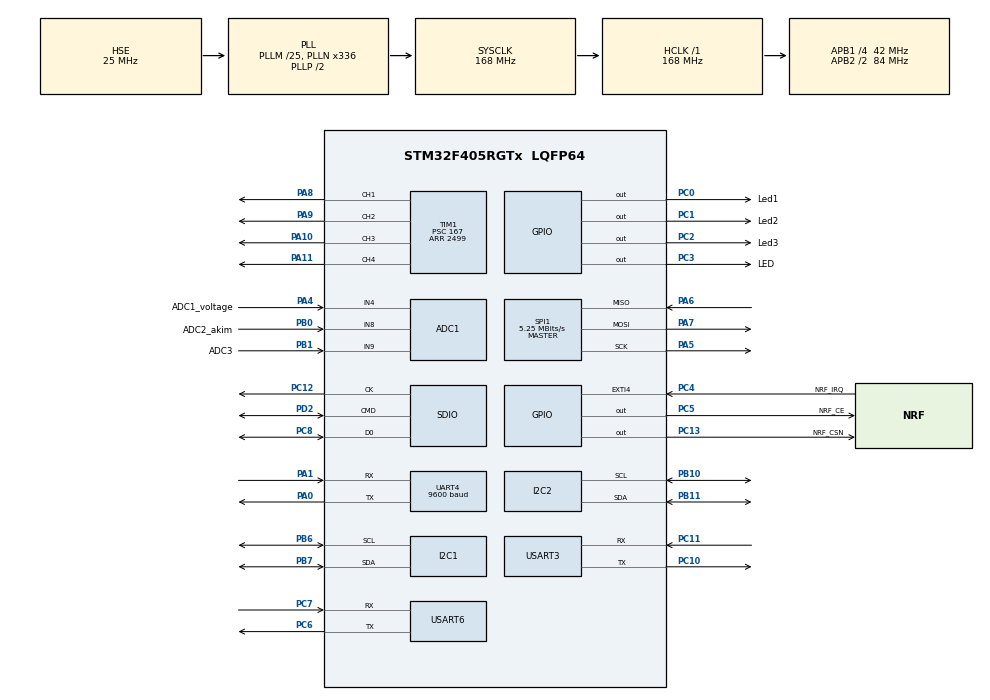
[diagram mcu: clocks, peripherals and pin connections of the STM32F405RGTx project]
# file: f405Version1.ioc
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ADC1.Channel-0\#ChannelRegularConversion=ADC_CHANNEL_4
ADC1.Channel-1\#ChannelRegularConversion=ADC_CHANNEL_8
ADC1.Channel-2\#ChannelRegularConversion=ADC_CHANNEL_9
ADC1.ContinuousConvMode=ENABLE
ADC1.DMAContinuousRequests=ENABLE
ADC1.DiscontinuousConvMode=DISABLE
ADC1.EOCSelection=ADC_EOC_SEQ_CONV
ADC1.NbrOfConversion=3
ADC1.NbrOfConversionFlag=1
ADC1.Rank-0\#ChannelRegularConversion=1
ADC1.Rank-1\#ChannelRegularConversion=2
ADC1.Rank-2\#ChannelRegularConversion=3
ADC1.SamplingTime-0\#ChannelRegularConversion=ADC_SAMPLETIME_112CYCLES
ADC1.SamplingTime-1\#ChannelRegularConversion=ADC_SAMPLETIME_112CYCLES
ADC1.SamplingTime-2\#ChannelRegularConversion=ADC_SAMPLETIME_112CYCLES
ADC1.master=1
Dma.ADC1.4.Direction=DMA_PERIPH_TO_MEMORY
Dma.ADC1.4.FIFOMode=DMA_FIFOMODE_DISABLE
Dma.ADC1.4.Instance=DMA2_Stream0
Dma.ADC1.4.MemDataAlignment=DMA_MDATAALIGN_HALFWORD
Dma.ADC1.4.MemInc=DMA_MINC_ENABLE
Dma.ADC1.4.Mode=DMA_CIRCULAR
Dma.ADC1.4.PeriphDataAlignment=DMA_PDATAALIGN_HALFWORD
Dma.ADC1.4.PeriphInc=DMA_PINC_DISABLE
Dma.ADC1.4.Priority=DMA_PRIORITY_MEDIUM
Dma.Request0=UART4_RX
Dma.Request1=UART4_TX
Dma.Request2=USART6_RX
Dma.Request3=USART6_TX
Dma.Request4=ADC1
Dma.UART4_RX.0.Direction=DMA_PERIPH_TO_MEMORY
Dma.UART4_RX.0.FIFOMode=DMA_FIFOMODE_DISABLE
Dma.UART4_RX.0.Instance=DMA1_Stream2
Dma.UART4_RX.0.MemDataAlignment=DMA_MDATAALIGN_BYTE
Dma.UART4_RX.0.MemInc=DMA_MINC_ENABLE
Dma.UART4_RX.0.Mode=DMA_CIRCULAR
Dma.UART4_RX.0.PeriphDataAlignment=DMA_PDATAALIGN_BYTE
Dma.UART4_RX.0.PeriphInc=DMA_PINC_DISABLE
Dma.UART4_RX.0.Priority=DMA_PRIORITY_LOW
Dma.UART4_TX.1.Direction=DMA_MEMORY_TO_PERIPH
Dma.UART4_TX.1.FIFOMode=DMA_FIFOMODE_DISABLE
Dma.UART4_TX.1.Instance=DMA1_Stream4
Dma.UART4_TX.1.MemDataAlignment=DMA_MDATAALIGN_BYTE
Dma.UART4_TX.1.MemInc=DMA_MINC_ENABLE
Dma.UART4_TX.1.Mode=DMA_CIRCULAR
Dma.UART4_TX.1.PeriphDataAlignment=DMA_PDATAALIGN_BYTE
Dma.UART4_TX.1.PeriphInc=DMA_PINC_DISABLE
Dma.UART4_TX.1.Priority=DMA_PRIORITY_LOW
Dma.USART6_RX.2.Direction=DMA_PERIPH_TO_MEMORY
Dma.USART6_RX.2.FIFOMode=DMA_FIFOMODE_DISABLE
Dma.USART6_RX.2.Instance=DMA2_Stream1
Dma.USART6_RX.2.MemDataAlignment=DMA_MDATAALIGN_BYTE
Dma.USART6_RX.2.MemInc=DMA_MINC_ENABLE
Dma.USART6_RX.2.Mode=DMA_CIRCULAR
Dma.USART6_RX.2.PeriphDataAlignment=DMA_PDATAALIGN_BYTE
Dma.USART6_RX.2.PeriphInc=DMA_PINC_DISABLE
Dma.USART6_RX.2.Priority=DMA_PRIORITY_LOW
Dma.USART6_TX.3.Direction=DMA_MEMORY_TO_PERIPH
Dma.USART6_TX.3.FIFOMode=DMA_FIFOMODE_DISABLE
Dma.USART6_TX.3.Instance=DMA2_Stream7
Dma.USART6_TX.3.MemDataAlignment=DMA_MDATAALIGN_BYTE
Dma.USART6_TX.3.MemInc=DMA_MINC_ENABLE
Dma.USART6_TX.3.Mode=DMA_CIRCULAR
Dma.USART6_TX.3.PeriphDataAlignment=DMA_PDATAALIGN_BYTE
Dma.USART6_TX.3.PeriphInc=DMA_PINC_DISABLE
Dma.USART6_TX.3.Priority=DMA_PRIORITY_LOW
I2C1.I2C_Mode=I2C_Fast
I2C2.I2C_Mode=I2C_Fast
Mcu.Family=STM32F4
Mcu.Name=STM32F405RGTx
Mcu.Package=LQFP64
NVIC.DMA1_Stream2_IRQn=true\:0\:0\:false\:false\:true\:false\:true
NVIC.DMA1_Stream4_IRQn=true\:0\:0\:false\:false\:true\:false\:true
NVIC.DMA2_Stream0_IRQn=true\:0\:0\:false\:false\:true\:false\:true
NVIC.DMA2_Stream1_IRQn=true\:0\:0\:false\:false\:true\:false\:true
NVIC.DMA2_Stream7_IRQn=true\:0\:0\:false\:false\:true\:false\:true
NVIC.EXTI4_IRQn=true\:0\:0\:false\:false\:true\:true\:true
NVIC.PriorityGroup=NVIC_PRIORITYGROUP_4
NVIC.UART4_IRQn=true\:0\:0\:false\:false\:true\:true\:true
NVIC.USART3_IRQn=true\:0\:0\:false\:false\:true\:true\:true
NVIC.USART6_IRQn=true\:0\:0\:false\:false\:true\:true\:true
PA0-WKUP.Mode=Asynchronous
PA0-WKUP.Signal=UART4_TX
PA1.Mode=Asynchronous
PA1.Signal=UART4_RX
PA10.Signal=S_TIM1_CH3
PA11.Signal=S_TIM1_CH4
PA13.Mode=Serial_Wire
PA13.Signal=SYS_JTMS-SWDIO
PA14.Mode=Serial_Wire
PA14.Signal=SYS_JTCK-SWCLK
PA4.GPIO_Label=ADC1_voltage
PA4.Signal=ADCx_IN4
PA5.Mode=Full_Duplex_Master
PA5.Signal=SPI1_SCK
PA6.Mode=Full_Duplex_Master
PA6.Signal=SPI1_MISO
PA7.Mode=Full_Duplex_Master
PA7.Signal=SPI1_MOSI
PA8.Signal=S_TIM1_CH1
PA9.Signal=S_TIM1_CH2
PB0.GPIO_Label=ADC2_akim
PB0.Signal=ADCx_IN8
PB1.GPIO_Label=ADC3
PB1.Signal=ADCx_IN9
PB10.Mode=I2C
PB10.Signal=I2C2_SCL
PB11.Mode=I2C
PB11.Signal=I2C2_SDA
PB6.Mode=I2C
PB6.Signal=I2C1_SCL
PB7.Mode=I2C
PB7.Signal=I2C1_SDA
PC0.GPIO_Label=Led1
PC0.Signal=GPIO_Output
PC1.GPIO_Label=Led2
PC1.Signal=GPIO_Output
PC10.Mode=Asynchronous
PC10.Signal=USART3_TX
PC11.Mode=Asynchronous
PC11.Signal=USART3_RX
PC12.Mode=SD_1_bit
PC12.Signal=SDIO_CK
PC13-ANTI_TAMP.GPIO_Label=NRF_CSN
PC13-ANTI_TAMP.Signal=GPIO_Output
PC14-OSC32_IN.Mode=LSE-External-Oscillator
PC14-OSC32_IN.Signal=RCC_OSC32_IN
PC15-OSC32_OUT.Mode=LSE-External-Oscillator
PC15-OSC32_OUT.Signal=RCC_OSC32_OUT
PC2.GPIO_Label=Led3
PC2.Signal=GPIO_Output
PC3.GPIO_Label=LED
PC3.Signal=GPIO_Output
PC4.GPIO_Label=NRF_IRQ
PC4.GPIO_ModeDefaultEXTI=GPIO_MODE_IT_FALLING
PC4.GPIO_PuPd=GPIO_PULLUP
PC4.Signal=GPXTI4
PC5.GPIO_Label=NRF_CE
PC5.Signal=GPIO_Output
PC6.Mode=Asynchronous
PC6.Signal=USART6_TX
PC7.Mode=Asynchronous
PC7.Signal=USART6_RX
PC8.Mode=SD_1_bit
PC8.Signal=SDIO_D0
PD2.Mode=SD_1_bit
PD2.Signal=SDIO_CMD
PH0-OSC_IN.Mode=HSE-External-Oscillator
PH0-OSC_IN.Signal=RCC_OSC_IN
PH1-OSC_OUT.Mode=HSE-External-Oscillator
PH1-OSC_OUT.Signal=RCC_OSC_OUT
ProjectManager.HeapSize=0x200
ProjectManager.StackSize=0x400
ProjectManager.TargetToolchain=STM32CubeIDE
RCC.48MHZClocksFreq_Value=48000000
RCC.AHBFreq_Value=168000000
RCC.APB1CLKDivider=RCC_HCLK_DIV4
RCC.APB1Freq_Value=42000000
RCC.APB1TimFreq_Value=84000000
RCC.APB2CLKDivider=RCC_HCLK_DIV2
RCC.APB2Freq_Value=84000000
RCC.APB2TimFreq_Value=168000000
RCC.CortexFreq_Value=168000000
RCC.HCLKFreq_Value=168000000
RCC.HSE_VALUE=25000000
RCC.HSI_VALUE=16000000
RCC.PLLM=25
RCC.PLLN=336
RCC.PLLQ=7
RCC.PLLSourceVirtual=RCC_PLLSOURCE_HSE
RCC.SYSCLKFreq_VALUE=168000000
RCC.SYSCLKSource=RCC_SYSCLKSOURCE_PLLCLK
RCC.VCOOutputFreq_Value=336000000
SH.ADCx_IN4.0=ADC1_IN4,IN4
SH.ADCx_IN8.0=ADC1_IN8,IN8
SH.ADCx_IN9.0=ADC1_IN9,IN9
SH.S_TIM1_CH1.0=TIM1_CH1,PWM Generation1 CH1
SH.S_TIM1_CH2.0=TIM1_CH2,PWM Generation2 CH2
SH.S_TIM1_CH3.0=TIM1_CH3,PWM Generation3 CH3
SH.S_TIM1_CH4.0=TIM1_CH4,PWM Generation4 CH4
SPI1.BaudRatePrescaler=SPI_BAUDRATEPRESCALER_16
SPI1.CalculateBaudRate=5.25 MBits/s
SPI1.Direction=SPI_DIRECTION_2LINES
SPI1.Mode=SPI_MODE_MASTER
SPI1.VirtualType=VM_MASTER
TIM1.Channel-PWM\ Generation1\ CH1=TIM_CHANNEL_1
TIM1.Channel-PWM\ Generation2\ CH2=TIM_CHANNEL_2
TIM1.Channel-PWM\ Generation3\ CH3=TIM_CHANNEL_3
TIM1.Channel-PWM\ Generation4\ CH4=TIM_CHANNEL_4
TIM1.Period=2499
TIM1.Prescaler=167
UART4.BaudRate=9600
UART4.VirtualMode=Asynchronous
USART3.VirtualMode=VM_ASYNC
USART6.VirtualMode=VM_ASYNC
VP_FATFS_VS_SDIO.Mode=SDIO
board=custom

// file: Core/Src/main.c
/* USER CODE BEGIN Header */
/**
  ******************************************************************************
  * @file           : main.c
  * @brief          : Main program body
  ******************************************************************************
  * @attention
  *
  * Copyright (c) 2022 STMicroelectronics.
  * All rights reserved.
  *
  * This software is licensed under terms that can be found in the LICENSE file
  * in the root directory of this software component.
  * If no LICENSE file comes with this software, it is provided AS-IS.
  *
  ******************************************************************************
  */
/* USER CODE END Header */
#include "main.h"
#include "fatfs.h"

/* USER CODE BEGIN Includes */
#include "Uav_Global.h"
#include "AESK_Log_System.h"
#include "GPS_UBX.h"
/* USER CODE END Includes */

/* USER CODE BEGIN PTD */

uint16_t Escmap1,Escmap2,Escmap3,Escmap4;
uint8_t in=0;
void Scanner()
{
	for(in=0;in<255;in++)
	{
		if(in==184)
		{
			in=186;
		}
		if(in==208)
		{
			in=210;
		}
		if(HAL_I2C_IsDeviceReady(&hi2c1, in, 1, 10)== HAL_OK)
		{
			break;
		}
	}

}
/* USER CODE END PTD */

ADC_HandleTypeDef hadc1;
DMA_HandleTypeDef hdma_adc1;

I2C_HandleTypeDef hi2c1;
I2C_HandleTypeDef hi2c2;

SD_HandleTypeDef hsd;

SPI_HandleTypeDef hspi1;

TIM_HandleTypeDef htim1;

UART_HandleTypeDef huart4;
UART_HandleTypeDef huart3;
UART_HandleTypeDef huart6;
DMA_HandleTypeDef hdma_uart4_rx;
DMA_HandleTypeDef hdma_uart4_tx;
DMA_HandleTypeDef hdma_usart6_rx;
DMA_HandleTypeDef hdma_usart6_tx;

/* USER CODE BEGIN PV */

Sd_Card_Data SdLogData;

uint8_t temp_buf_gps[1024] = { 0 }; //GPS verileri icin buffer
uint16_t read_byte_gps = 0; 		//GPS'ten okunan byte sayisi
USART_Buffer UBX_UART_Bufferi;
UBX_Handle UBX_Data;

uint8_t temp_buf_lidar[1024] = { 0 }; //Lidar verileri icin buffer
uint16_t read_byte_lidar = 0; 		//Lidar'ten okunan byte sayisi
USART_Buffer LIDAR_UART_Bufferi;
LIDAR_Handle LIDAR_Data;

/* USER CODE END PV */

void SystemClock_Config(void);
static void MX_GPIO_Init(void);
static void MX_I2C1_Init(void);
static void MX_I2C2_Init(void);
static void MX_TIM1_Init(void);
static void MX_ADC1_Init(void);
static void MX_SPI1_Init(void);
static void MX_USART6_UART_Init(void);
static void MX_UART4_Init(void);
static void MX_DMA_Init(void);
static void MX_USART3_UART_Init(void);
static void MX_SDIO_SD_Init(void);
/* USER CODE BEGIN PFP */

void HAL_ADC_ConvCpltCallback(ADC_HandleTypeDef* hadc)
{
	if(hadc->Instance == ADC1)
	{
		adc_data[0] = adc_buffer[0];
		adc_data[1] = adc_buffer[1];
		adc_data[2] = adc_buffer[2];
	}
}

/* USER CODE END PFP */

int main(void)
{

  /* MCU Configuration--------------------------------------------------------*/

  /* Reset of all peripherals, Initializes the Flash interface and the Systick. */
  HAL_Init();

  /* Configure the system clock */
  SystemClock_Config();

  /* Initialize all configured peripherals */
  MX_GPIO_Init();
  MX_DMA_Init();
  MX_I2C1_Init();
  MX_I2C2_Init();
  MX_TIM1_Init();
  MX_ADC1_Init();
  MX_SPI1_Init();
  MX_USART6_UART_Init();
  MX_UART4_Init();
  MX_USART3_UART_Init();
  MX_SDIO_SD_Init();
  MX_FATFS_Init();
  /* USER CODE BEGIN 2 */
  NMEA2UBX_Config(&huart4, &UBX_UART_Bufferi);
  LogStart(&SdLogData);
  LogDataInit();
  MainAllInit();
  onReceiveFlag = true;
  LIDAR_Config(&huart6, &LIDAR_UART_Bufferi);
  thisNode = 0x11223344AA;	// NRF RxPipeAdress'im
  nodeGCS = 0x11223344BB;	// Yer İstasyonu NRF TxPipeAdress'i

//  CoefficientCalculator(20, 500);//girilen değerler kesme frekansı ve kaç herztlik döngüye sokacagın
//  Scanner();
  HAL_ADC_Start_DMA(&hadc1, &adc_buffer, 3);

  /* USER CODE END 2 */

  /* Infinite loop */
  while (1)
  {

    /* USER CODE BEGIN 3 */

	 // tau degeri ile oynayabilirsin biraz ayarlanmalı
	 //yaw da hata var gibi

	if(Time.Task.Hz_500 == 1)
	{
		MPU6050();
		MotorPowerCalculateWithRate();
		RemoteControlOnOff();
//		HAL_GPIO_TogglePin(GPIOC, Led3_Pin);
		Time.Task.Hz_500 = 0;
	}
	if(Time.Task.Hz_200 == 1)
	{
		RemotoControlMapping();
		MPU6050AHRS();
		MadgwickAhrsFilter(Mpu.Gyro_Roll_Ahrs1, Mpu.Gyro_Pitch_Ahrs1, Mpu.Gyro_Yaw_Ahrs1, AccelRollFiltered.NotchFilterOut ,AccelPitchFiltered.NotchFilterOut ,AccelYawFiltered.NotchFilterOut);
		BarometerReadValues();//ms5611 ve barometrenin kütüphanesini düzenlecek boş vakitlerde
		BarometerAltitude();//ms5611 ve barometrenin kütüphanesini düzenlecek boş vakitlerde
//		HAL_GPIO_TogglePin(GPIOC, Led2_Pin);
		Time.Task.Hz_200 = 0;
	}
	if(Time.Task.Hz_50 == 1)
	{
//		Ms5611Altitude();
		read_byte_lidar = read_DMA_Buffer(&huart6, &LIDAR_UART_Bufferi, temp_buf_lidar);
		if(read_byte_lidar > 0)
		{
			LIDAR_Data_Parser(&LIDAR_Data, temp_buf_lidar, read_byte_lidar);
		}
		read_byte_gps = read_DMA_Buffer(&huart4, &UBX_UART_Bufferi, temp_buf_gps);
		if(read_byte_gps > 0)
		 {
			 GPS_Data_Control(&UBX_Data, temp_buf_gps, read_byte_gps);
		 }
		Battery_Calculate();
		ManyometerReadValue();
		PositionControl(&UBX_Data);
		MotorPowerCalculateWithAltitude();
		MotorPowerCalculateWithPosition(&UBX_Data);
		HAL_GPIO_TogglePin(GPIOC, Led1_Pin);
		Time.Task.Hz_50 = 0;
	}
	uint16_t batteryData = (uint16_t)(Battery.Voltage*100);
	if(Time.Task.Hz_10 == 1)// position control 50 hz olacak
	{

	}
	if(Time.Task.Hz_20 == 1 && onReceiveFlag == 1)
	{
		uint16_t indexTx=2;

		AESK_FLOAT32toUINT8_LE(&Ahrs_YAW,aesk_nrf24_data.TxBuffer ,&indexTx);
		AESK_FLOAT32toUINT8_LE(&Ahrs_ROLL,aesk_nrf24_data.TxBuffer ,&indexTx);
		AESK_FLOAT32toUINT8_LE(&Ahrs_PITCH,aesk_nrf24_data.TxBuffer ,&indexTx);
		AESK_FLOAT32toUINT8_LE(&Barometer_Altitude,aesk_nrf24_data.TxBuffer ,&indexTx);

		AESK_UINT16toUINT8_LE(&Motor.Sol_On,aesk_nrf24_data.TxBuffer ,&indexTx);
		AESK_UINT16toUINT8_LE(&Motor.Sol_Arka,aesk_nrf24_data.TxBuffer ,&indexTx);
		AESK_UINT16toUINT8_LE(&Motor.Sag_On,aesk_nrf24_data.TxBuffer ,&indexTx);
		AESK_UINT16toUINT8_LE(&Motor.Sag_Arka,aesk_nrf24_data.TxBuffer ,&indexTx);

		AESK_FLOAT32toUINT8_LE(&RemoteYaw.Setpoint,aesk_nrf24_data.TxBuffer ,&indexTx);
		AESK_FLOAT32toUINT8_LE(&RemoteRoll.Setpoint,aesk_nrf24_data.TxBuffer ,&indexTx);
		AESK_FLOAT32toUINT8_LE(&RemotePitch.Setpoint,aesk_nrf24_data.TxBuffer ,&indexTx);
		AESK_FLOAT32toUINT8_LE(&Altitudeerror,aesk_nrf24_data.TxBuffer ,&indexTx);
		AESK_UINT16toUINT8_LE(&batteryData,aesk_nrf24_data.TxBuffer, &indexTx);
		AESK_UINT16toUINT8_LE(&LIDAR_Data.LIDAR_Pack.Distance,aesk_nrf24_data.TxBuffer ,&indexTx);

		AESK_FLOAT32toUINT8_LE(&UBX_Data.ubx_PVT.latitude,aesk_nrf24_data.TxBuffer ,&indexTx);
		AESK_FLOAT32toUINT8_LE(&UBX_Data.ubx_PVT.longitude,aesk_nrf24_data.TxBuffer ,&indexTx);
		AESK_UINT32toUINT8_LE(&UBX_Data.ubx_PVT.hAcc,aesk_nrf24_data.TxBuffer ,&indexTx);
		AESK_INT32toUINT8_LE(&UBX_Data.ubx_PVT.velN,aesk_nrf24_data.TxBuffer ,&indexTx);
		AESK_INT32toUINT8_LE(&UBX_Data.ubx_PVT.velE,aesk_nrf24_data.TxBuffer ,&indexTx);
		AESK_INT32toUINT8_LE(&UBX_Data.ubx_PVT.velD,aesk_nrf24_data.TxBuffer ,&indexTx);
		AESK_FLOAT32toUINT8_LE(&UBX_Data.ubx_PVT.gSpeed,aesk_nrf24_data.TxBuffer ,&indexTx);
		AESK_UINT8toUINT8CODE(&UBX_Data.ubx_PVT.numSV, aesk_nrf24_data.TxBuffer, &indexTx);

//		AESK_UINT16toUINT8_LE(&aesk_Rx_Datas_Int.adc1,aesk_nrf24_data.TxBuffer,&indexTx);
//	    AESK_UINT16toUINT8_LE(&aesk_Rx_Datas_Int.adc2,aesk_nrf24_data.TxBuffer,&indexTx);
//	    AESK_UINT16toUINT8_LE(&aesk_Rx_Datas_Int.adc3,aesk_nrf24_data.TxBuffer,&indexTx);
//	    AESK_UINT16toUINT8_LE(&aesk_Rx_Datas_Int.adc3,aesk_nrf24_data.TxBuffer,&indexTx);
//	    AESK_UINT16toUINT8_LE(&aesk_Rx_Datas_Int.adc4,aesk_nrf24_data.TxBuffer,&indexTx);
//	    AESK_UINT16toUINT8_LE(&aesk_Rx_Datas_Int.adc5,aesk_nrf24_data.TxBuffer,&indexTx);
//	    AESK_UINT16toUINT8_LE(&aesk_Rx_Datas_Int.adc6,aesk_nrf24_data.TxBuffer,&indexTx);
//	    AESK_UINT16toUINT8_LE(&aesk_Rx_Datas_Int.adc7,aesk_nrf24_data.TxBuffer,&indexTx);
//	    AESK_UINT16toUINT8_LE(&aesk_Rx_Datas_Int.adc8,aesk_nrf24_data.TxBuffer,&indexTx);
//	    AESK_UINT16toUINT8_LE(&aesk_Rx_Datas_Int.adc9,aesk_nrf24_data.TxBuffer,&indexTx);
//	    AESK_UINT16toUINT8_LE(&aesk_Rx_Datas_Int.adc10,aesk_nrf24_data.TxBuffer,&indexTx);

		aesk_nrf24_data.TxBuffer[0] = 'A';
		aesk_nrf24_data.TxBuffer[1] = indexTx;

		AESK_NRF24_WritePack(aesk_nrf24_data.TxBuffer, indexTx, nodeGCS);

		Time.Task.Hz_20=0;
	}
	if(Time.Task.Hz_5==1)
	{
		LogAsString(&SdLogData,&UBX_Data);
		Time.Task.Hz_5=0;
	}

  }
  /* USER CODE END 3 */
}

void SystemClock_Config(void)
{
  RCC_OscInitTypeDef RCC_OscInitStruct = {0};
  RCC_ClkInitTypeDef RCC_ClkInitStruct = {0};

  /** Configure the main internal regulator output voltage
  */
  __HAL_RCC_PWR_CLK_ENABLE();
  __HAL_PWR_VOLTAGESCALING_CONFIG(PWR_REGULATOR_VOLTAGE_SCALE1);
  /** Initializes the RCC Oscillators according to the specified parameters
  * in the RCC_OscInitTypeDef structure.
  */
  RCC_OscInitStruct.OscillatorType = RCC_OSCILLATORTYPE_HSE;
  RCC_OscInitStruct.HSEState = RCC_HSE_ON;
  RCC_OscInitStruct.PLL.PLLState = RCC_PLL_ON;
  RCC_OscInitStruct.PLL.PLLSource = RCC_PLLSOURCE_HSE;
  RCC_OscInitStruct.PLL.PLLM = 25;
  RCC_OscInitStruct.PLL.PLLN = 336;
  RCC_OscInitStruct.PLL.PLLP = RCC_PLLP_DIV2;
  RCC_OscInitStruct.PLL.PLLQ = 7;
  if (HAL_RCC_OscConfig(&RCC_OscInitStruct) != HAL_OK)
  {
    Error_Handler();
  }
  /** Initializes the CPU, AHB and APB buses clocks
  */
  RCC_ClkInitStruct.ClockType = RCC_CLOCKTYPE_HCLK|RCC_CLOCKTYPE_SYSCLK
                              |RCC_CLOCKTYPE_PCLK1|RCC_CLOCKTYPE_PCLK2;
  RCC_ClkInitStruct.SYSCLKSource = RCC_SYSCLKSOURCE_PLLCLK;
  RCC_ClkInitStruct.AHBCLKDivider = RCC_SYSCLK_DIV1;
  RCC_ClkInitStruct.APB1CLKDivider = RCC_HCLK_DIV4;
  RCC_ClkInitStruct.APB2CLKDivider = RCC_HCLK_DIV2;

  if (HAL_RCC_ClockConfig(&RCC_ClkInitStruct, FLASH_LATENCY_5) != HAL_OK)
  {
    Error_Handler();
  }
}

static void MX_ADC1_Init(void)
{

  ADC_ChannelConfTypeDef sConfig = {0};

  /** Configure the global features of the ADC (Clock, Resolution, Data Alignment and number of conversion)
  */
  hadc1.Instance = ADC1;
  hadc1.Init.ClockPrescaler = ADC_CLOCK_SYNC_PCLK_DIV4;
  hadc1.Init.Resolution = ADC_RESOLUTION_12B;
  hadc1.Init.ScanConvMode = ENABLE;
  hadc1.Init.ContinuousConvMode = ENABLE;
  hadc1.Init.DiscontinuousConvMode = DISABLE;
  hadc1.Init.ExternalTrigConvEdge = ADC_EXTERNALTRIGCONVEDGE_NONE;
  hadc1.Init.ExternalTrigConv = ADC_SOFTWARE_START;
  hadc1.Init.DataAlign = ADC_DATAALIGN_RIGHT;
  hadc1.Init.NbrOfConversion = 3;
  hadc1.Init.DMAContinuousRequests = ENABLE;
  hadc1.Init.EOCSelection = ADC_EOC_SEQ_CONV;
  if (HAL_ADC_Init(&hadc1) != HAL_OK)
  {
    Error_Handler();
  }
  /** Configure for the selected ADC regular channel its corresponding rank in the sequencer and its sample time.
  */
  sConfig.Channel = ADC_CHANNEL_4;
  sConfig.Rank = 1;
  sConfig.SamplingTime = ADC_SAMPLETIME_112CYCLES;
  if (HAL_ADC_ConfigChannel(&hadc1, &sConfig) != HAL_OK)
  {
    Error_Handler();
  }
  /** Configure for the selected ADC regular channel its corresponding rank in the sequencer and its sample time.
  */
  sConfig.Channel = ADC_CHANNEL_8;
  sConfig.Rank = 2;
  if (HAL_ADC_ConfigChannel(&hadc1, &sConfig) != HAL_OK)
  {
    Error_Handler();
  }
  /** Configure for the selected ADC regular channel its corresponding rank in the sequencer and its sample time.
  */
  sConfig.Channel = ADC_CHANNEL_9;
  sConfig.Rank = 3;
  if (HAL_ADC_ConfigChannel(&hadc1, &sConfig) != HAL_OK)
  {
    Error_Handler();
  }

}

static void MX_I2C1_Init(void)
{

  hi2c1.Instance = I2C1;
  hi2c1.Init.ClockSpeed = 400000;
  hi2c1.Init.DutyCycle = I2C_DUTYCYCLE_2;
  hi2c1.Init.OwnAddress1 = 0;
  hi2c1.Init.AddressingMode = I2C_ADDRESSINGMODE_7BIT;
  hi2c1.Init.DualAddressMode = I2C_DUALADDRESS_DISABLE;
  hi2c1.Init.OwnAddress2 = 0;
  hi2c1.Init.GeneralCallMode = I2C_GENERALCALL_DISABLE;
  hi2c1.Init.NoStretchMode = I2C_NOSTRETCH_DISABLE;
  if (HAL_I2C_Init(&hi2c1) != HAL_OK)
  {
    Error_Handler();
  }

}

static void MX_I2C2_Init(void)
{

  hi2c2.Instance = I2C2;
  hi2c2.Init.ClockSpeed = 400000;
  hi2c2.Init.DutyCycle = I2C_DUTYCYCLE_2;
  hi2c2.Init.OwnAddress1 = 0;
  hi2c2.Init.AddressingMode = I2C_ADDRESSINGMODE_7BIT;
  hi2c2.Init.DualAddressMode = I2C_DUALADDRESS_DISABLE;
  hi2c2.Init.OwnAddress2 = 0;
  hi2c2.Init.GeneralCallMode = I2C_GENERALCALL_DISABLE;
  hi2c2.Init.NoStretchMode = I2C_NOSTRETCH_DISABLE;
  if (HAL_I2C_Init(&hi2c2) != HAL_OK)
  {
    Error_Handler();
  }

}

static void MX_SDIO_SD_Init(void)
{

  hsd.Instance = SDIO;
  hsd.Init.ClockEdge = SDIO_CLOCK_EDGE_RISING;
  hsd.Init.ClockBypass = SDIO_CLOCK_BYPASS_DISABLE;
  hsd.Init.ClockPowerSave = SDIO_CLOCK_POWER_SAVE_DISABLE;
  hsd.Init.BusWide = SDIO_BUS_WIDE_1B;
  hsd.Init.HardwareFlowControl = SDIO_HARDWARE_FLOW_CONTROL_DISABLE;
  hsd.Init.ClockDiv = 0;

}

static void MX_SPI1_Init(void)
{

  /* SPI1 parameter configuration*/
  hspi1.Instance = SPI1;
  hspi1.Init.Mode = SPI_MODE_MASTER;
  hspi1.Init.Direction = SPI_DIRECTION_2LINES;
  hspi1.Init.DataSize = SPI_DATASIZE_8BIT;
  hspi1.Init.CLKPolarity = SPI_POLARITY_LOW;
  hspi1.Init.CLKPhase = SPI_PHASE_1EDGE;
  hspi1.Init.NSS = SPI_NSS_SOFT;
  hspi1.Init.BaudRatePrescaler = SPI_BAUDRATEPRESCALER_16;
  hspi1.Init.FirstBit = SPI_FIRSTBIT_MSB;
  hspi1.Init.TIMode = SPI_TIMODE_DISABLE;
  hspi1.Init.CRCCalculation = SPI_CRCCALCULATION_DISABLE;
  hspi1.Init.CRCPolynomial = 10;
  if (HAL_SPI_Init(&hspi1) != HAL_OK)
  {
    Error_Handler();
  }

}

static void MX_TIM1_Init(void)
{

  TIM_MasterConfigTypeDef sMasterConfig = {0};
  TIM_OC_InitTypeDef sConfigOC = {0};
  TIM_BreakDeadTimeConfigTypeDef sBreakDeadTimeConfig = {0};

  htim1.Instance = TIM1;
  htim1.Init.Prescaler = 167;
  htim1.Init.CounterMode = TIM_COUNTERMODE_UP;
  htim1.Init.Period = 2499;
  htim1.Init.ClockDivision = TIM_CLOCKDIVISION_DIV1;
  htim1.Init.RepetitionCounter = 0;
  htim1.Init.AutoReloadPreload = TIM_AUTORELOAD_PRELOAD_DISABLE;
  if (HAL_TIM_PWM_Init(&htim1) != HAL_OK)
  {
    Error_Handler();
  }
  sMasterConfig.MasterOutputTrigger = TIM_TRGO_RESET;
  sMasterConfig.MasterSlaveMode = TIM_MASTERSLAVEMODE_DISABLE;
  if (HAL_TIMEx_MasterConfigSynchronization(&htim1, &sMasterConfig) != HAL_OK)
  {
    Error_Handler();
  }
  sConfigOC.OCMode = TIM_OCMODE_PWM1;
  sConfigOC.Pulse = 0;
  sConfigOC.OCPolarity = TIM_OCPOLARITY_HIGH;
  sConfigOC.OCNPolarity = TIM_OCNPOLARITY_HIGH;
  sConfigOC.OCFastMode = TIM_OCFAST_DISABLE;
  sConfigOC.OCIdleState = TIM_OCIDLESTATE_RESET;
  sConfigOC.OCNIdleState = TIM_OCNIDLESTATE_RESET;
  if (HAL_TIM_PWM_ConfigChannel(&htim1, &sConfigOC, TIM_CHANNEL_1) != HAL_OK)
  {
    Error_Handler();
  }
  if (HAL_TIM_PWM_ConfigChannel(&htim1, &sConfigOC, TIM_CHANNEL_2) != HAL_OK)
  {
    Error_Handler();
  }
  if (HAL_TIM_PWM_ConfigChannel(&htim1, &sConfigOC, TIM_CHANNEL_3) != HAL_OK)
  {
    Error_Handler();
  }
  if (HAL_TIM_PWM_ConfigChannel(&htim1, &sConfigOC, TIM_CHANNEL_4) != HAL_OK)
  {
    Error_Handler();
  }
  sBreakDeadTimeConfig.OffStateRunMode = TIM_OSSR_DISABLE;
  sBreakDeadTimeConfig.OffStateIDLEMode = TIM_OSSI_DISABLE;
  sBreakDeadTimeConfig.LockLevel = TIM_LOCKLEVEL_OFF;
  sBreakDeadTimeConfig.DeadTime = 0;
  sBreakDeadTimeConfig.BreakState = TIM_BREAK_DISABLE;
  sBreakDeadTimeConfig.BreakPolarity = TIM_BREAKPOLARITY_HIGH;
  sBreakDeadTimeConfig.AutomaticOutput = TIM_AUTOMATICOUTPUT_DISABLE;
  if (HAL_TIMEx_ConfigBreakDeadTime(&htim1, &sBreakDeadTimeConfig) != HAL_OK)
  {
    Error_Handler();
  }
  HAL_TIM_MspPostInit(&htim1);

}

static void MX_UART4_Init(void)
{

  huart4.Instance = UART4;
  huart4.Init.BaudRate = 9600;
  huart4.Init.WordLength = UART_WORDLENGTH_8B;
  huart4.Init.StopBits = UART_STOPBITS_1;
  huart4.Init.Parity = UART_PARITY_NONE;
  huart4.Init.Mode = UART_MODE_TX_RX;
  huart4.Init.HwFlowCtl = UART_HWCONTROL_NONE;
  huart4.Init.OverSampling = UART_OVERSAMPLING_16;
  if (HAL_UART_Init(&huart4) != HAL_OK)
  {
    Error_Handler();
  }

}

static void MX_USART3_UART_Init(void)
{

  huart3.Instance = USART3;
  huart3.Init.BaudRate = 115200;
  huart3.Init.WordLength = UART_WORDLENGTH_8B;
  huart3.Init.StopBits = UART_STOPBITS_1;
  huart3.Init.Parity = UART_PARITY_NONE;
  huart3.Init.Mode = UART_MODE_TX_RX;
  huart3.Init.HwFlowCtl = UART_HWCONTROL_NONE;
  huart3.Init.OverSampling = UART_OVERSAMPLING_16;
  if (HAL_UART_Init(&huart3) != HAL_OK)
  {
    Error_Handler();
  }

}

static void MX_USART6_UART_Init(void)
{

  huart6.Instance = USART6;
  huart6.Init.BaudRate = 115200;
  huart6.Init.WordLength = UART_WORDLENGTH_8B;
  huart6.Init.StopBits = UART_STOPBITS_1;
  huart6.Init.Parity = UART_PARITY_NONE;
  huart6.Init.Mode = UART_MODE_TX_RX;
  huart6.Init.HwFlowCtl = UART_HWCONTROL_NONE;
  huart6.Init.OverSampling = UART_OVERSAMPLING_16;
  if (HAL_UART_Init(&huart6) != HAL_OK)
  {
    Error_Handler();
  }

}

static void MX_DMA_Init(void)
{

  /* DMA controller clock enable */
  __HAL_RCC_DMA1_CLK_ENABLE();
  __HAL_RCC_DMA2_CLK_ENABLE();

  /* DMA interrupt init */
  /* DMA1_Stream2_IRQn interrupt configuration */
  HAL_NVIC_SetPriority(DMA1_Stream2_IRQn, 0, 0);
  HAL_NVIC_EnableIRQ(DMA1_Stream2_IRQn);
  /* DMA1_Stream4_IRQn interrupt configuration */
  HAL_NVIC_SetPriority(DMA1_Stream4_IRQn, 0, 0);
  HAL_NVIC_EnableIRQ(DMA1_Stream4_IRQn);
  /* DMA2_Stream0_IRQn interrupt configuration */
  HAL_NVIC_SetPriority(DMA2_Stream0_IRQn, 0, 0);
  HAL_NVIC_EnableIRQ(DMA2_Stream0_IRQn);
  /* DMA2_Stream1_IRQn interrupt configuration */
  HAL_NVIC_SetPriority(DMA2_Stream1_IRQn, 0, 0);
  HAL_NVIC_EnableIRQ(DMA2_Stream1_IRQn);
  /* DMA2_Stream7_IRQn interrupt configuration */
  HAL_NVIC_SetPriority(DMA2_Stream7_IRQn, 0, 0);
  HAL_NVIC_EnableIRQ(DMA2_Stream7_IRQn);

}

static void MX_GPIO_Init(void)
{
  GPIO_InitTypeDef GPIO_InitStruct = {0};

  /* GPIO Ports Clock Enable */
  __HAL_RCC_GPIOC_CLK_ENABLE();
  __HAL_RCC_GPIOH_CLK_ENABLE();
  __HAL_RCC_GPIOA_CLK_ENABLE();
  __HAL_RCC_GPIOB_CLK_ENABLE();
  __HAL_RCC_GPIOD_CLK_ENABLE();

  /*Configure GPIO pin Output Level */
  HAL_GPIO_WritePin(GPIOC, NRF_CSN_Pin|Led1_Pin|Led2_Pin|Led3_Pin
                          |LED_Pin|NRF_CE_Pin, GPIO_PIN_RESET);

  /*Configure GPIO pins : NRF_CSN_Pin Led1_Pin Led2_Pin Led3_Pin
                           LED_Pin NRF_CE_Pin */
  GPIO_InitStruct.Pin = NRF_CSN_Pin|Led1_Pin|Led2_Pin|Led3_Pin
                          |LED_Pin|NRF_CE_Pin;
  GPIO_InitStruct.Mode = GPIO_MODE_OUTPUT_PP;
  GPIO_InitStruct.Pull = GPIO_NOPULL;
  GPIO_InitStruct.Speed = GPIO_SPEED_FREQ_LOW;
  HAL_GPIO_Init(GPIOC, &GPIO_InitStruct);

  /*Configure GPIO pin : NRF_IRQ_Pin */
  GPIO_InitStruct.Pin = NRF_IRQ_Pin;
  GPIO_InitStruct.Mode = GPIO_MODE_IT_FALLING;
  GPIO_InitStruct.Pull = GPIO_PULLUP;
  HAL_GPIO_Init(NRF_IRQ_GPIO_Port, &GPIO_InitStruct);

  /* EXTI interrupt init*/
  HAL_NVIC_SetPriority(EXTI4_IRQn, 0, 0);
  HAL_NVIC_EnableIRQ(EXTI4_IRQn);

}

void Error_Handler(void)
{
  __disable_irq();
  while (1)
  {
  }
}
